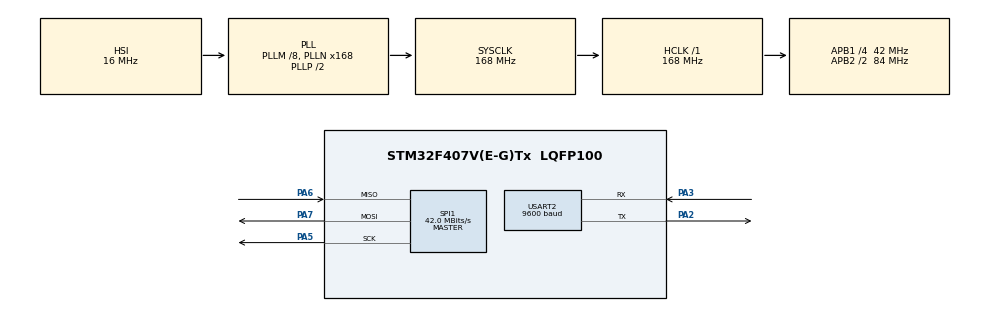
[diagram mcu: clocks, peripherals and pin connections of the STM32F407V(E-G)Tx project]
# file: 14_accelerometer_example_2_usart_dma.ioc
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Dma.Request0=USART2_RX
Dma.Request1=USART2_TX
Dma.USART2_RX.0.Direction=DMA_PERIPH_TO_MEMORY
Dma.USART2_RX.0.FIFOMode=DMA_FIFOMODE_DISABLE
Dma.USART2_RX.0.Instance=DMA1_Stream5
Dma.USART2_RX.0.MemDataAlignment=DMA_MDATAALIGN_BYTE
Dma.USART2_RX.0.MemInc=DMA_MINC_ENABLE
Dma.USART2_RX.0.Mode=DMA_CIRCULAR
Dma.USART2_RX.0.PeriphDataAlignment=DMA_PDATAALIGN_BYTE
Dma.USART2_RX.0.PeriphInc=DMA_PINC_DISABLE
Dma.USART2_RX.0.Priority=DMA_PRIORITY_LOW
Dma.USART2_TX.1.Direction=DMA_MEMORY_TO_PERIPH
Dma.USART2_TX.1.FIFOMode=DMA_FIFOMODE_DISABLE
Dma.USART2_TX.1.Instance=DMA1_Stream6
Dma.USART2_TX.1.MemDataAlignment=DMA_MDATAALIGN_BYTE
Dma.USART2_TX.1.MemInc=DMA_MINC_ENABLE
Dma.USART2_TX.1.Mode=DMA_CIRCULAR
Dma.USART2_TX.1.PeriphDataAlignment=DMA_PDATAALIGN_BYTE
Dma.USART2_TX.1.PeriphInc=DMA_PINC_DISABLE
Dma.USART2_TX.1.Priority=DMA_PRIORITY_LOW
Mcu.Family=STM32F4
Mcu.Name=STM32F407V(E-G)Tx
Mcu.Package=LQFP100
NVIC.DMA1_Stream5_IRQn=true\:0\:0\:false\:false\:true\:false
NVIC.DMA1_Stream6_IRQn=true\:0\:0\:false\:false\:true\:false
NVIC.PriorityGroup=NVIC_PRIORITYGROUP_4
NVIC.USART2_IRQn=true\:0\:0\:false\:false\:true\:true
PA13.Mode=Serial_Wire
PA13.Signal=SYS_JTMS-SWDIO
PA14.Mode=Serial_Wire
PA14.Signal=SYS_JTCK-SWCLK
PA2.Mode=Asynchronous
PA2.Signal=USART2_TX
PA3.Mode=Asynchronous
PA3.Signal=USART2_RX
PA5.Mode=Full_Duplex_Master
PA5.Signal=SPI1_SCK
PA6.Mode=Full_Duplex_Master
PA6.Signal=SPI1_MISO
PA7.Mode=Full_Duplex_Master
PA7.Signal=SPI1_MOSI
ProjectManager.HeapSize=0x200
ProjectManager.StackSize=0x400
ProjectManager.TargetToolchain=MDK-ARM V5
RCC.48MHZClocksFreq_Value=84000000
RCC.AHBFreq_Value=168000000
RCC.APB1CLKDivider=RCC_HCLK_DIV4
RCC.APB1Freq_Value=42000000
RCC.APB1TimFreq_Value=84000000
RCC.APB2CLKDivider=RCC_HCLK_DIV2
RCC.APB2Freq_Value=84000000
RCC.APB2TimFreq_Value=168000000
RCC.CortexFreq_Value=168000000
RCC.HCLKFreq_Value=168000000
RCC.HSE_VALUE=25000000
RCC.HSI_VALUE=16000000
RCC.LSE_VALUE=32768
RCC.PLLM=8
RCC.PLLN=168
RCC.SYSCLKFreq_VALUE=168000000
RCC.SYSCLKSource=RCC_SYSCLKSOURCE_PLLCLK
RCC.VCOOutputFreq_Value=336000000
SPI1.CalculateBaudRate=42.0 MBits/s
SPI1.Direction=SPI_DIRECTION_2LINES
SPI1.Mode=SPI_MODE_MASTER
SPI1.VirtualType=VM_MASTER
USART2.BaudRate=9600
USART2.Mode=MODE_TX
USART2.VirtualMode=VM_ASYNC
board=14_accelerometer_example_2_usart_dma

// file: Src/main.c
/**
  ******************************************************************************
  * File Name          : main.c
  * Description        : Main program body
  ******************************************************************************
  ** This notice applies to any and all portions of this file
  * that are not between comment pairs USER CODE BEGIN and
  * USER CODE END. Other portions of this file, whether
  * inserted by the user or by software development tools
  * are owned by their respective copyright owners.
  *
  * COPYRIGHT(c) 2018 STMicroelectronics
  *
  * Redistribution and use in source and binary forms, with or without modification,
  * are permitted provided that the following conditions are met:
  *   1. Redistributions of source code must retain the above copyright notice,
  *      this list of conditions and the following disclaimer.
  *   2. Redistributions in binary form must reproduce the above copyright notice,
  *      this list of conditions and the following disclaimer in the documentation
  *      and/or other materials provided with the distribution.
  *   3. Neither the name of STMicroelectronics nor the names of its contributors
  *      may be used to endorse or promote products derived from this software
  *      without specific prior written permission.
  *
  * THIS SOFTWARE IS PROVIDED BY THE COPYRIGHT HOLDERS AND CONTRIBUTORS "AS IS"
  * AND ANY EXPRESS OR IMPLIED WARRANTIES, INCLUDING, BUT NOT LIMITED TO, THE
  * IMPLIED WARRANTIES OF MERCHANTABILITY AND FITNESS FOR A PARTICULAR PURPOSE ARE
  * DISCLAIMED. IN NO EVENT SHALL THE COPYRIGHT HOLDER OR CONTRIBUTORS BE LIABLE
  * FOR ANY DIRECT, INDIRECT, INCIDENTAL, SPECIAL, EXEMPLARY, OR CONSEQUENTIAL
  * DAMAGES (INCLUDING, BUT NOT LIMITED TO, PROCUREMENT OF SUBSTITUTE GOODS OR
  * SERVICES; LOSS OF USE, DATA, OR PROFITS; OR BUSINESS INTERRUPTION) HOWEVER
  * CAUSED AND ON ANY THEORY OF LIABILITY, WHETHER IN CONTRACT, STRICT LIABILITY,
  * OR TORT (INCLUDING NEGLIGENCE OR OTHERWISE) ARISING IN ANY WAY OUT OF THE USE
  * OF THIS SOFTWARE, EVEN IF ADVISED OF THE POSSIBILITY OF SUCH DAMAGE.
  *
  ******************************************************************************
  */
#include "main.h"
#include "stm32f4xx_hal.h"
// eklediklerimiz asagida ....
#include "defines.h"
#include "tm_stm32_disco.h"
#include "tm_stm32_delay.h"
#include "tm_stm32_lis302dl_lis3dsh.h"

/* USER CODE BEGIN Includes */
  char tx_buffer[10];
 int16_t x=0,y=0,z=0;
/* USER CODE END Includes */

SPI_HandleTypeDef hspi1;

UART_HandleTypeDef huart2;
DMA_HandleTypeDef hdma_usart2_rx;
DMA_HandleTypeDef hdma_usart2_tx;

/* USER CODE BEGIN PV */
/* Private variables ---------------------------------------------------------*/

/* USER CODE END PV */

void SystemClock_Config(void);
static void MX_GPIO_Init(void);
static void MX_DMA_Init(void);
static void MX_SPI1_Init(void);
static void MX_USART2_UART_Init(void);

/* USER CODE BEGIN PFP */
/* Private function prototypes -----------------------------------------------*/

 // önceki veriler bufferda kaldigi için uart dma stop edilir sonra tekrardan baslatilir

 void HAL_UART_TxCpltCallback(UART_HandleTypeDef *huart)
 {

	HAL_UART_DMAStop(&huart2);
	HAL_UART_Transmit_DMA(&huart2,(uint8_t*)tx_buffer, sprintf(tx_buffer,"%d %d %d\n",x,y,z));

 }
/* USER CODE END PFP */

int main(void)
{

  /* MCU Configuration----------------------------------------------------------*/

  /* Reset of all peripherals, Initializes the Flash interface and the Systick. */
  HAL_Init();

  /* Configure the system clock */
  SystemClock_Config();

  /* Initialize all configured peripherals */
  MX_GPIO_Init();
  MX_DMA_Init();
  MX_SPI1_Init();
  MX_USART2_UART_Init();

    /* USER CODE BEGIN 2 */
		// eklenen kodlar ........
   TM_LIS302DL_LIS3DSH_t Axes_Data;

    /* Initialize system */
 // bunu iptal ettik =>    SystemInit();  etmesaydik veri okuyamazdik...

    /* Init delay */
    TM_DELAY_Init();

    /* Initialize LEDs */
    TM_DISCO_LedInit();

    /* Detect proper device */
    if (TM_LIS302DL_LIS3DSH_Detect() == TM_LIS302DL_LIS3DSH_Device_LIS302DL) {
        /* Turn on GREEN and RED */
        TM_DISCO_LedOn(LED_GREEN | LED_RED);
        /* Initialize LIS302DL */
        TM_LIS302DL_LIS3DSH_Init(TM_LIS302DL_Sensitivity_2_3G, TM_LIS302DL_Filter_2Hz);
    } else if (TM_LIS302DL_LIS3DSH_Detect() == TM_LIS302DL_LIS3DSH_Device_LIS3DSH) {
        /* Turn on BLUE and ORANGE */
        TM_DISCO_LedOn(LED_BLUE | LED_ORANGE);
        /* Initialize LIS3DSH */
        TM_LIS302DL_LIS3DSH_Init(TM_LIS3DSH_Sensitivity_2G, TM_LIS3DSH_Filter_800Hz);
    } else {
        /* Device is not recognized */

        /* Turn on ALL leds */
        TM_DISCO_LedOn(LED_GREEN | LED_RED | LED_BLUE | LED_ORANGE);

        /* Infinite loop */
        while (1);
    }

    /* Delay for 2 seconds */
    Delayms(1000);
  /* USER CODE END 2 */

		// usart i tanimliyoruz .. spirntf ile veriler tx_buffer e aktarilip gönderiliyor...
    HAL_UART_Transmit_DMA(&huart2,(uint8_t*)tx_buffer, sprintf(tx_buffer,"%d %d %d\n",x,y,z));

		/* Infinite loop */
  while (1)
  {
     /* Read axes data from initialized accelerometer */
        TM_LIS302DL_LIS3DSH_ReadAxes(&Axes_Data);

        /* Turn LEDS on or off */
        /* Check X axes */
        if (Axes_Data.X > 200) {
            TM_DISCO_LedOn(LED_RED);
        } else {
            TM_DISCO_LedOff(LED_RED);
        }
        if (Axes_Data.X < -200) {
            TM_DISCO_LedOn(LED_GREEN);
        } else {
            TM_DISCO_LedOff(LED_GREEN);
        }
        /* Check Y axes */
        if (Axes_Data.Y > 200) {
            TM_DISCO_LedOn(LED_ORANGE);
        } else {
            TM_DISCO_LedOff(LED_ORANGE);
        }
        if (Axes_Data.Y < -200) {
            TM_DISCO_LedOn(LED_BLUE);
        } else {
            TM_DISCO_LedOff(LED_BLUE);
        }

				x=Axes_Data.X;
				y=Axes_Data.Y;
				z=Axes_Data.Z;
				Delayms(100);
  }

}

/** System Clock Configuration
*/
void SystemClock_Config(void)
{

  RCC_OscInitTypeDef RCC_OscInitStruct;
  RCC_ClkInitTypeDef RCC_ClkInitStruct;

    /**Configure the main internal regulator output voltage
    */
  __HAL_RCC_PWR_CLK_ENABLE();

  __HAL_PWR_VOLTAGESCALING_CONFIG(PWR_REGULATOR_VOLTAGE_SCALE1);

    /**Initializes the CPU, AHB and APB busses clocks
    */
  RCC_OscInitStruct.OscillatorType = RCC_OSCILLATORTYPE_HSI;
  RCC_OscInitStruct.HSIState = RCC_HSI_ON;
  RCC_OscInitStruct.HSICalibrationValue = 16;
  RCC_OscInitStruct.PLL.PLLState = RCC_PLL_ON;
  RCC_OscInitStruct.PLL.PLLSource = RCC_PLLSOURCE_HSI;
  RCC_OscInitStruct.PLL.PLLM = 8;
  RCC_OscInitStruct.PLL.PLLN = 168;
  RCC_OscInitStruct.PLL.PLLP = RCC_PLLP_DIV2;
  RCC_OscInitStruct.PLL.PLLQ = 4;
  if (HAL_RCC_OscConfig(&RCC_OscInitStruct) != HAL_OK)
  {
    _Error_Handler(__FILE__, __LINE__);
  }

    /**Initializes the CPU, AHB and APB busses clocks
    */
  RCC_ClkInitStruct.ClockType = RCC_CLOCKTYPE_HCLK|RCC_CLOCKTYPE_SYSCLK
                              |RCC_CLOCKTYPE_PCLK1|RCC_CLOCKTYPE_PCLK2;
  RCC_ClkInitStruct.SYSCLKSource = RCC_SYSCLKSOURCE_PLLCLK;
  RCC_ClkInitStruct.AHBCLKDivider = RCC_SYSCLK_DIV1;
  RCC_ClkInitStruct.APB1CLKDivider = RCC_HCLK_DIV4;
  RCC_ClkInitStruct.APB2CLKDivider = RCC_HCLK_DIV2;

  if (HAL_RCC_ClockConfig(&RCC_ClkInitStruct, FLASH_LATENCY_5) != HAL_OK)
  {
    _Error_Handler(__FILE__, __LINE__);
  }

    /**Configure the Systick interrupt time
    */
  HAL_SYSTICK_Config(HAL_RCC_GetHCLKFreq()/1000);

    /**Configure the Systick
    */
  HAL_SYSTICK_CLKSourceConfig(SYSTICK_CLKSOURCE_HCLK);

  /* SysTick_IRQn interrupt configuration */
  HAL_NVIC_SetPriority(SysTick_IRQn, 0, 0);
}

/* SPI1 init function */
static void MX_SPI1_Init(void)
{

  /* SPI1 parameter configuration*/
  hspi1.Instance = SPI1;
  hspi1.Init.Mode = SPI_MODE_MASTER;
  hspi1.Init.Direction = SPI_DIRECTION_2LINES;
  hspi1.Init.DataSize = SPI_DATASIZE_8BIT;
  hspi1.Init.CLKPolarity = SPI_POLARITY_LOW;
  hspi1.Init.CLKPhase = SPI_PHASE_1EDGE;
  hspi1.Init.NSS = SPI_NSS_SOFT;
  hspi1.Init.BaudRatePrescaler = SPI_BAUDRATEPRESCALER_2;
  hspi1.Init.FirstBit = SPI_FIRSTBIT_MSB;
  hspi1.Init.TIMode = SPI_TIMODE_DISABLE;
  hspi1.Init.CRCCalculation = SPI_CRCCALCULATION_DISABLE;
  hspi1.Init.CRCPolynomial = 10;
  if (HAL_SPI_Init(&hspi1) != HAL_OK)
  {
    _Error_Handler(__FILE__, __LINE__);
  }

}

/* USART2 init function */
static void MX_USART2_UART_Init(void)
{

  huart2.Instance = USART2;
  huart2.Init.BaudRate = 9600;
  huart2.Init.WordLength = UART_WORDLENGTH_8B;
  huart2.Init.StopBits = UART_STOPBITS_1;
  huart2.Init.Parity = UART_PARITY_NONE;
  huart2.Init.Mode = UART_MODE_TX;
  huart2.Init.HwFlowCtl = UART_HWCONTROL_NONE;
  huart2.Init.OverSampling = UART_OVERSAMPLING_16;
  if (HAL_UART_Init(&huart2) != HAL_OK)
  {
    _Error_Handler(__FILE__, __LINE__);
  }

}

static void MX_DMA_Init(void)
{
  /* DMA controller clock enable */
  __HAL_RCC_DMA1_CLK_ENABLE();

  /* DMA interrupt init */
  /* DMA1_Stream5_IRQn interrupt configuration */
  HAL_NVIC_SetPriority(DMA1_Stream5_IRQn, 0, 0);
  HAL_NVIC_EnableIRQ(DMA1_Stream5_IRQn);
  /* DMA1_Stream6_IRQn interrupt configuration */
  HAL_NVIC_SetPriority(DMA1_Stream6_IRQn, 0, 0);
  HAL_NVIC_EnableIRQ(DMA1_Stream6_IRQn);

}

/** Configure pins as
        * Analog
        * Input
        * Output
        * EVENT_OUT
        * EXTI
*/
static void MX_GPIO_Init(void)
{

  /* GPIO Ports Clock Enable */
  __HAL_RCC_GPIOA_CLK_ENABLE();

}

void _Error_Handler(char * file, int line)
{
  while(1)
  {
  }
}

/************************ (C) COPYRIGHT STMicroelectronics *****END OF FILE****/
